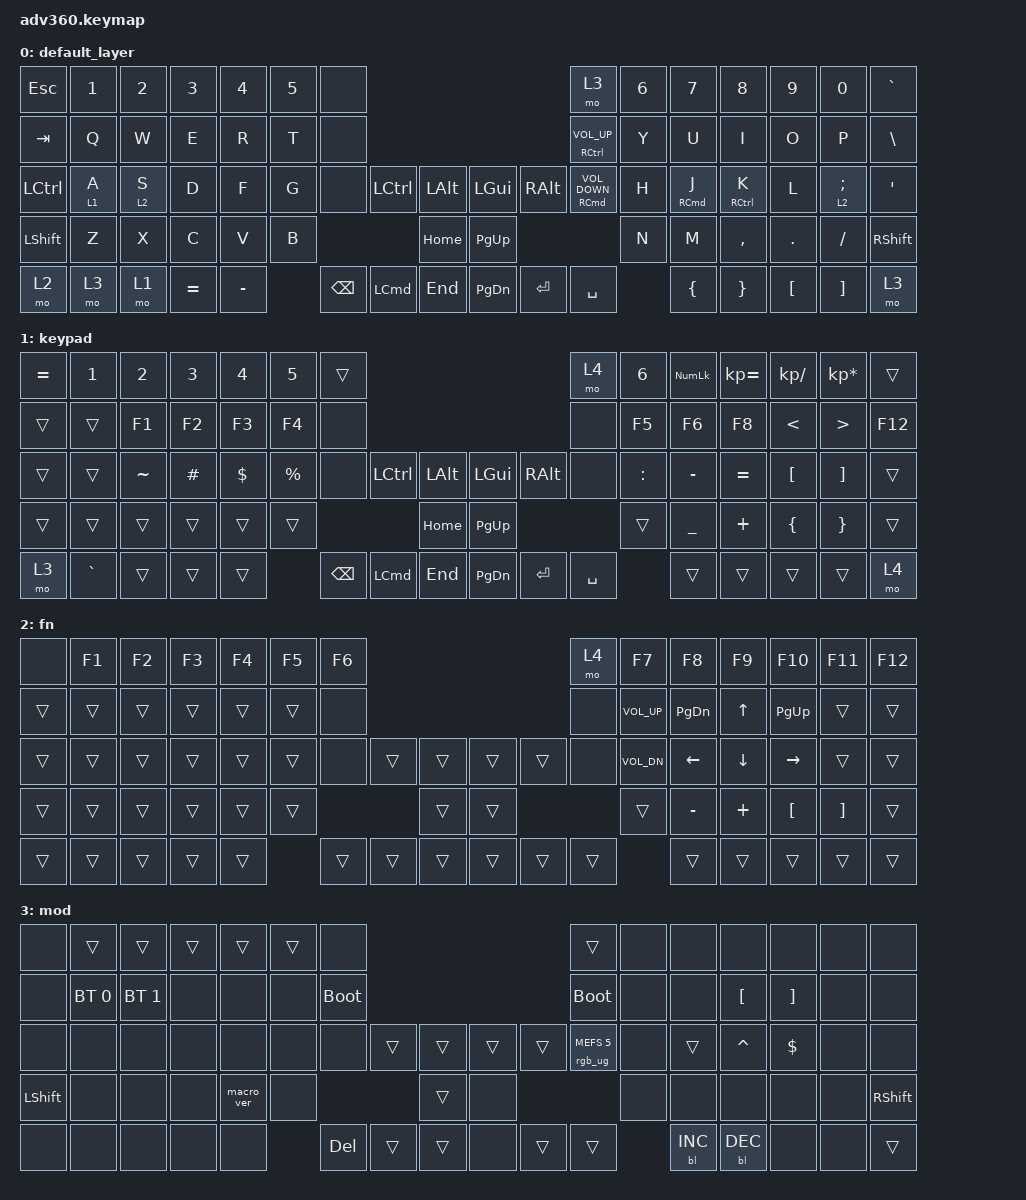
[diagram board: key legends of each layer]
#include <behaviors.dtsi>
#include <dt-bindings/zmk/backlight.h>
#include <dt-bindings/zmk/bt.h>
#include <dt-bindings/zmk/keys.h>
#include <dt-bindings/zmk/rgb.h>

/ {
    behaviors {
        #include "macros.dtsi"
      #include "version.dtsi"
      #ifndef VERSION_MACRO

        macro_ver: macro_ver {
            compatible = "zmk,behavior-macro";
            label = "macro_version";
            #binding-cells = <0>;
            bindings = <&kp RET>;
        };

        #endif

        // Home-row mod: more resistant to fast typing than the built-in &mt.
        // - require-prior-idle-ms: if the previous key was pressed less than
        //   150ms ago, force the tap (letter), so the modifier never fires
        //   during fluent typing.
        // - flavor balanced: hold only when the interrupting key is pressed
        //   AND released while this key is still held.
        // - tapping-term-ms: minimum hold time to count as a modifier.
        hm: homerow_mods {
            compatible = "zmk,behavior-hold-tap";
            label = "HOMEROW_MODS";
            #binding-cells = <2>;
            flavor = "balanced";
            tapping-term-ms = <220>;
            quick-tap-ms = <175>;
            require-prior-idle-ms = <150>;
            bindings = <&kp>, <&kp>;
        };

        // Same timings as &hm, but for layer-taps — the built-in &lt is
        // hold-preferred and switches layers mid-word.
        hl: homerow_layer {
            compatible = "zmk,behavior-hold-tap";
            label = "HOMEROW_LAYER";
            #binding-cells = <2>;
            flavor = "balanced";
            tapping-term-ms = <220>;
            quick-tap-ms = <175>;
            require-prior-idle-ms = <150>;
            bindings = <&mo>, <&kp>;
        };
    };

    macros {
    };

    combos {
        compatible = "zmk,combos";

        switch-layer-2 {
            bindings = <&mo 3>;
            key-positions = <66 69>;
        };
    };

    keymap {
        compatible = "zmk,keymap";

        default_layer {
            bindings = <
&kp ESCAPE        &kp N1   &kp N2   &kp N3     &kp N4     &kp N5  &none                                                               &mo 3                            &kp N6  &kp N7               &kp N8           &kp N9    &kp N0      &kp GRAVE
&kp TAB           &kp Q    &kp W    &kp E      &kp R      &kp T   &none                                                               &hm RCTRL C_VOLUME_UP            &kp Y   &kp U                &kp I            &kp O     &kp P       &kp BSLH
&kp LEFT_CONTROL  &hl 1 A  &hl 2 S  &kp D      &kp F      &kp G   &none     &kp LCTRL         &kp LALT      &kp LGUI   &kp RIGHT_ALT  &hm RIGHT_COMMAND C_VOLUME_DOWN  &kp H   &hm RIGHT_COMMAND J  &hm RCTRL K      &kp L     &hl 2 SEMI  &kp SQT
&kp LSHFT         &kp Z    &kp X    &kp C      &kp V      &kp B                               &kp HOME      &kp PG_UP                                                  &kp N   &kp M                &kp COMMA        &kp DOT   &kp FSLH    &kp RSHFT
&mo 2             &mo 3    &mo 1    &kp EQUAL  &kp MINUS          &kp BSPC  &kp LEFT_COMMAND  &kp END       &kp PG_DN  &kp ENTER      &kp SPACE                                &kp LEFT_BRACE       &kp RIGHT_BRACE  &kp LBKT  &kp RBKT    &mo 3
            >;
        };

        keypad {
            bindings = <
&kp EQUAL  &kp N1     &kp N2     &kp N3    &kp N4      &kp N5       &trans                                                              &mo 4      &kp N6     &kp KP_NUM  &kp KP_EQUAL  &kp KP_DIVIDE     &kp KP_MULTIPLY    &trans
&trans     &trans     &kp F1     &kp F2    &kp F3      &kp F4       &none                                                               &none      &kp F5     &kp F6      &kp F8        &kp LT            &kp GT             &kp F12
&trans     &trans     &kp TILDE  &kp HASH  &kp DOLLAR  &kp PERCENT  &none     &kp LCTRL         &kp LALT      &kp LGUI   &kp RIGHT_ALT  &none      &kp COLON  &kp MINUS   &kp EQUAL     &kp LEFT_BRACKET  &kp RIGHT_BRACKET  &trans
&trans     &trans     &trans     &trans    &trans      &trans                                   &kp HOME      &kp PG_UP                            &trans     &kp UNDER   &kp PLUS      &kp LEFT_BRACE    &kp RIGHT_BRACE    &trans
&mo 3      &kp GRAVE  &trans     &trans    &trans                   &kp BSPC  &kp LEFT_COMMAND  &kp END       &kp PG_DN  &kp ENTER      &kp SPACE             &trans      &trans        &trans            &trans             &mo 4
            >;
        };

        fn {
            bindings = <
&none   &kp F1  &kp F2  &kp F3  &kp F4  &kp F5  &kp F6                                      &mo 4   &kp F7           &kp F8     &kp F9          &kp F10           &kp F11            &kp F12
&trans  &trans  &trans  &trans  &trans  &trans  &none                                       &none   &kp C_VOLUME_UP  &kp PG_DN  &kp UP_ARROW    &kp PG_UP         &trans             &trans
&trans  &trans  &trans  &trans  &trans  &trans  &none   &trans  &trans      &trans  &trans  &none   &kp C_VOL_DN     &kp LEFT   &kp DOWN_ARROW  &kp RIGHT         &trans             &trans
&trans  &trans  &trans  &trans  &trans  &trans                  &trans      &trans                  &trans           &kp MINUS  &kp PLUS        &kp LEFT_BRACKET  &kp RIGHT_BRACKET  &trans
&trans  &trans  &trans  &trans  &trans          &trans  &trans  &trans      &trans  &trans  &trans                   &trans     &trans          &trans            &trans             &trans
            >;
        };

        mod {
            bindings = <
&none           &trans        &trans        &trans  &trans      &trans  &none                                            &trans                  &none  &none       &none             &none              &none  &none
&none           &bt BT_SEL 0  &bt BT_SEL 1  &none   &none       &none   &bootloader                                      &bootloader             &none  &none       &kp LEFT_BRACKET  &kp RIGHT_BRACKET  &none  &none
&none           &none         &none         &none   &none       &none   &none        &trans  &trans      &trans  &trans  &rgb_ug RGB_MEFS_CMD 5  &none  &trans      &kp CARET         &kp DOLLAR         &none  &none
&kp LEFT_SHIFT  &none         &none         &none   &macro_ver  &none                        &trans      &none                                   &none  &none       &none             &none              &none  &kp RIGHT_SHIFT
&none           &none         &none         &none   &none               &kp DELETE   &trans  &trans      &none   &trans  &trans                         &bl BL_INC  &bl BL_DEC        &none              &none  &trans
            >;
        };
    };
};
